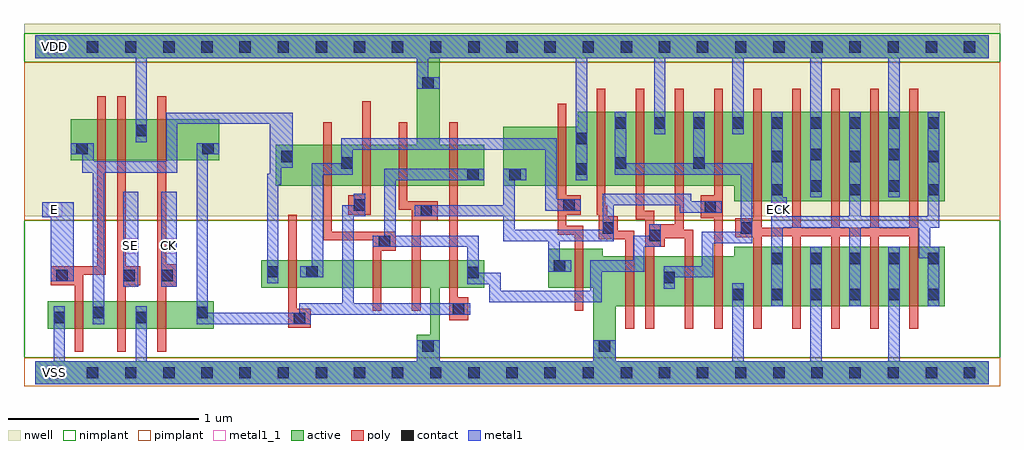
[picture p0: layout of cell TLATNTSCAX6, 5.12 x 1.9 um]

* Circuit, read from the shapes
.subckt TLATNTSCAX6 CK E ECK SE VDD VSS
M1 n1 E VSS VSS nfet w=0.145u l=0.045u
M2 VSS SE n1 VSS nfet w=0.145u l=0.045u
M3 n2 CK VSS VSS nfet w=0.145u l=0.045u
M4 n3 n2 n1 VSS nfet w=0.145u l=0.045u
M5 n4 n5 n3 VSS nfet w=0.145u l=0.045u
M6 VSS n6 n4 VSS nfet w=0.145u l=0.045u
M7 n5 n2 VSS VSS nfet w=0.145u l=0.045u
M8 VSS n3 n6 VSS nfet w=0.205u l=0.045u
M9 n7 n6 VSS VSS nfet w=0.26u l=0.045u
M10 n8 n5 n7 VSS nfet w=0.26u l=0.045u
M11 n9 n5 n8 VSS nfet w=0.26u l=0.045u
M12 VSS n6 n9 VSS nfet w=0.26u l=0.045u
M13 ECK n8 VSS VSS nfet w=0.31u l=0.045u m=5
M14 n10 E n1 VDD pfet w=0.215u l=0.045u
M15 VDD SE n10 VDD pfet w=0.215u l=0.045u
M16 n2 CK VDD VDD pfet w=0.215u l=0.045u
M17 n3 n5 n1 VDD pfet w=0.215u l=0.045u
M18 n11 n2 n3 VDD pfet w=0.215u l=0.045u
M19 VDD n6 n11 VDD pfet w=0.215u l=0.045u
M20 n5 n2 VDD VDD pfet w=0.215u l=0.045u
M21 VDD n3 n6 VDD pfet w=0.31u l=0.045u
M22 n8 n6 VDD VDD pfet w=0.39u l=0.045u m=2
M23 VDD n5 n8 VDD pfet w=0.39u l=0.045u m=2
M24 ECK n8 VDD VDD pfet w=0.47u l=0.045u m=5
.ends

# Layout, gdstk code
import gdstk
lib = gdstk.Library(unit=1e-6, precision=5e-10)
def R(c, l, rs):  # rectangles x0, y0, x1, y1
    for r in rs: c.add(gdstk.rectangle(r[:2], r[2:], *l))
def A(c, l, x, y, w, h, nx, ny, dx, dy):  # array of equal rectangles
    R(c, l, [(x+i*dx, y+j*dy, x+i*dx+w, y+j*dy+h) for i in range(nx) for j in range(ny)])
def P(c, l, *ps):  # polygons
    for p in ps: c.add(gdstk.Polygon(p, *l))
active = (1, 0)
nwell = (2, 0)
poly = (3, 0)
nimplant = (4, 0)
pimplant = (5, 0)
contact = (6, 0)
metal1 = (7, 0)
metal1_1 = (7, 1)

tlatntscax6 = lib.new_cell('TLATNTSCAX6')
R(tlatntscax6, active, [(0.065,0.23,0.935,0.375), (0.185,1.115,0.965,1.33)])
P(tlatntscax6, active, [(0,1.77),(5,1.77),(5,1.65),(2.12,1.65),(2.12,1.195),(2.355,1.195),(2.355,0.98),(1.26,0.98),(1.26,1.195),(2,1.195),(2,1.65),(0,1.65)],
  [(2.845,1.37),(4.77,1.37),(4.77,0.9),(3.665,0.9),(3.665,0.98),(2.455,0.98),(2.455,1.29),(2.845,1.29)],
  [(2.69,0.65),(2.975,0.65),(2.975,0.61),(3.665,0.61),(3.665,0.66),(4.77,0.66),(4.77,0.35),(3.045,0.35),(3.045,0.06),(5,0.06),(5,-0.06),(0,-0.06),(0,0.06),(2,0.06),(2,0.2),(2.07,0.2),(2.07,0.445),(1.185,0.445),(1.185,0.59),(2.355,0.59),(2.355,0.445),(2.12,0.445),(2.12,0.06),(2.925,0.06),(2.925,0.445),(2.69,0.445)])
R(tlatntscax6, nwell, [(-0.06,0.82,5.06,1.83)])
P(tlatntscax6, poly, [(0.325,1.45),(0.37,1.45),(0.37,0.515),(0.25,0.515),(0.25,0.11),(0.205,0.11),(0.205,0.46),(0.08,0.46),(0.08,0.56),(0.325,0.56)],
  [(0.43,1.45),(0.475,1.45),(0.475,0.56),(0.55,0.56),(0.55,0.46),(0.475,0.46),(0.475,0.11),(0.43,0.11)],
  [(0.64,1.45),(0.685,1.45),(0.685,0.57),(0.74,0.57),(0.74,0.45),(0.685,0.45),(0.685,0.11),(0.64,0.11)],
  [(1.51,1.315),(1.555,1.315),(1.555,0.74),(1.89,0.74),(1.89,0.64),(1.815,0.64),(1.815,0.325),(1.77,0.325),(1.77,0.695),(1.51,0.695)],
  [(1.715,1.425),(1.76,1.425),(1.76,0.83),(1.64,0.83),(1.64,0.93),(1.715,0.93)],
  [(1.905,1.315),(1.95,1.315),(1.95,0.9),(2.11,0.9),(2.11,0.8),(2.02,0.8),(2.02,0.325),(1.975,0.325),(1.975,0.855),(1.905,0.855)],
  [(2.17,1.315),(2.215,1.315),(2.215,0.395),(2.27,0.395),(2.27,0.275),(2.17,0.275)],
  [(2.74,1.41),(2.785,1.41),(2.785,0.93),(2.86,0.93),(2.86,0.83),(2.785,0.83),(2.785,0.77),(2.875,0.77),(2.875,0.325),(2.83,0.325),(2.83,0.725),(2.74,0.725)],
  [(2.945,1.49),(2.99,1.49),(2.99,0.875),(3,0.875),(3,0.82),(3.055,0.82),(3.055,0.745),(3.14,0.745),(3.14,0.23),(3.095,0.23),(3.095,0.7),(2.955,0.7),(2.955,0.83),(2.945,0.83)],
  [(3.15,1.49),(3.195,1.49),(3.195,0.85),(3.245,0.85),(3.245,0.78),(3.355,0.78),(3.355,1.49),(3.4,1.49),(3.4,0.75),(3.45,0.75),(3.45,0.23),(3.405,0.23),(3.405,0.705),(3.3,0.705),(3.3,0.66),(3.245,0.66),(3.245,0.23),(3.2,0.23),(3.2,0.805),(3.15,0.805)],
  [(3.56,1.49),(3.605,1.49),(3.605,0.23),(3.56,0.23),(3.56,0.81),(3.49,0.81),(3.49,0.93),(3.56,0.93)],
  [(3.765,1.49),(3.81,1.49),(3.81,0.76),(3.97,0.76),(3.97,1.49),(4.015,1.49),(4.015,0.76),(4.175,0.76),(4.175,1.49),(4.22,1.49),(4.22,0.76),(4.38,0.76),(4.38,1.49),(4.425,1.49),(4.425,0.76),(4.585,0.76),(4.585,1.49),(4.63,1.49),(4.63,0.23),(4.585,0.23),(4.585,0.715),(4.425,0.715),(4.425,0.23),(4.38,0.23),(4.38,0.715),(4.22,0.715),(4.22,0.23),(4.175,0.23),(4.175,0.715),(4.015,0.715),(4.015,0.23),(3.97,0.23),(3.97,0.715),(3.81,0.715),(3.81,0.23),(3.765,0.23),(3.765,0.71),(3.67,0.71),(3.67,0.81),(3.765,0.81)],
  [(1.325,0.83),(1.37,0.83),(1.37,0.335),(1.445,0.335),(1.445,0.235),(1.325,0.235)])
R(tlatntscax6, nimplant, [(-0.06,0.08,5.06,0.8), (-0.06,1.63,5.06,1.78)])
R(tlatntscax6, pimplant, [(-0.06,-0.07,5.06,0.08), (-0.06,0.8,5.06,1.63)])
A(tlatntscax6, contact, 0.07, -0.03, 0.06, 0.06, 25, 2, 0.2, 1.71)
A(tlatntscax6, contact, 3.655, 0.38, 0.06, 0.06, 6, 1, 0.205, 0)
A(tlatntscax6, contact, 3.86, 0.57, 0.06, 0.06, 5, 1, 0.205, 0)
A(tlatntscax6, contact, 3.86, 0.93, 0.06, 0.06, 3, 2, 0.41, 0.175)
A(tlatntscax6, contact, 3.04, 1.28, 0.06, 0.06, 9, 1, 0.205, 0)
R(tlatntscax6, contact, [(2.03,0.11,2.09,0.17), (2.955,0.11,3.015,0.17), (1.355,0.255,1.415,0.315), (0.095,0.26,0.155,0.32), (0.525,0.26,0.585,0.32), (0.3,0.285,0.36,0.345), (0.845,0.285,0.905,0.345), (2.19,0.305,2.25,0.365), (3.295,0.47,3.355,0.53), (0.11,0.48,0.17,0.54), (0.46,0.48,0.52,0.54), (0.66,0.48,0.72,0.54), (2.265,0.495,2.325,0.555), (1.215,0.5,1.275,0.56), (1.42,0.5,1.48,0.56), (2.72,0.53,2.78,0.59), (1.8,0.66,1.86,0.72), (3.22,0.69,3.28,0.75), (2.975,0.73,3.035,0.79), (3.7,0.73,3.76,0.79), (2.02,0.82,2.08,0.88), (3.51,0.84,3.57,0.9), (1.67,0.85,1.73,0.91), (2.77,0.85,2.83,0.91), (4.065,0.95,4.125,1.01), (4.475,0.95,4.535,1.01), (2.265,1.01,2.325,1.07), (2.485,1.01,2.545,1.07), (2.835,1.04,2.895,1.1), (1.605,1.07,1.665,1.13), (3.04,1.07,3.1,1.13), (3.45,1.07,3.51,1.13), (1.29,1.105,1.35,1.165), (4.065,1.115,4.125,1.175), (4.475,1.115,4.535,1.175), (0.215,1.145,0.275,1.205), (0.875,1.145,0.935,1.205), (2.835,1.2,2.895,1.26), (0.525,1.24,0.585,1.3), (2.03,1.49,2.09,1.55)])
R(tlatntscax6, metal1, [(0.46,0.45,0.54,0.95), (0.66,0.45,0.74,0.95)])
P(tlatntscax6, metal1, [(0,1.77),(5,1.77),(5,1.65),(4.535,1.65),(4.535,0.92),(4.475,0.92),(4.475,1.65),(4.125,1.65),(4.125,0.92),(4.065,0.92),(4.065,1.65),(3.715,1.65),(3.715,1.25),(3.655,1.25),(3.655,1.65),(3.305,1.65),(3.305,1.25),(3.245,1.25),(3.245,1.65),(2.895,1.65),(2.895,1.01),(2.835,1.01),(2.835,1.65),(2.06,1.65),(2.06,1.55),(2.12,1.55),(2.12,1.49),(2,1.49),(2,1.65),(0.585,1.65),(0.585,1.21),(0.525,1.21),(0.525,1.65),(0,1.65)],
  [(1.605,1.23),(2.735,1.23),(2.735,0.91),(2.86,0.91),(2.86,0.85),(2.675,0.85),(2.675,1.17),(1.665,1.17),(1.665,1.04),(1.51,1.04),(1.51,0.5),(1.39,0.5),(1.39,0.56),(1.45,0.56),(1.45,1.1),(1.605,1.1)],
  [(0.685,1.365),(1.35,1.365),(1.35,1.075),(1.29,1.075),(1.29,0.985),(1.275,0.985),(1.275,0.47),(1.215,0.47),(1.215,1.045),(1.23,1.045),(1.23,1.305),(0.745,1.305),(0.745,1.05),(0.36,1.05),(0.36,0.255),(0.3,0.255),(0.3,1.05),(0.245,1.05),(0.245,1.145),(0.185,1.145),(0.185,1.205),(0.305,1.205),(0.305,1.11),(0.685,1.11)],
  [(0.845,1.205),(0.965,1.205),(0.965,1.145),(0.905,1.145),(0.905,0.315),(1.385,0.315),(1.385,0.365),(1.61,0.365),(1.61,0.88),(1.67,0.88),(1.67,0.94),(1.73,0.94),(1.73,0.82),(1.67,0.82),(1.67,0.365),(2.28,0.365),(2.28,0.305),(1.445,0.305),(1.445,0.255),(0.845,0.255)],
  [(1.83,1.07),(2.355,1.07),(2.355,1.01),(1.89,1.01),(1.89,0.72),(2.325,0.72),(2.325,0.525),(2.44,0.525),(2.44,0.43),(2.91,0.43),(2.91,0.59),(3.135,0.59),(3.135,0.72),(3.22,0.72),(3.22,0.78),(3.28,0.78),(3.28,0.66),(3.195,0.66),(3.195,0.53),(2.97,0.53),(2.97,0.37),(2.38,0.37),(2.38,0.465),(2.265,0.465),(2.265,0.66),(1.77,0.66),(1.77,0.72),(1.83,0.72)],
  [(0.035,0.895),(0.2,0.895),(0.2,0.48),(0.08,0.48),(0.08,0.815),(0.035,0.815)],
  [(0.095,0.35),(0.155,0.35),(0.155,0.06),(0.525,0.06),(0.525,0.35),(0.585,0.35),(0.585,0.06),(2,0.06),(2,0.17),(2.12,0.17),(2.12,0.06),(2.925,0.06),(2.925,0.17),(3.045,0.17),(3.045,0.06),(3.655,0.06),(3.655,0.47),(3.715,0.47),(3.715,0.06),(4.065,0.06),(4.065,0.66),(4.125,0.66),(4.125,0.06),(4.475,0.06),(4.475,0.66),(4.535,0.66),(4.535,0.06),(5,0.06),(5,-0.06),(0,-0.06),(0,0.06),(0.095,0.06)],
  [(2.455,1.07),(2.575,1.07),(2.575,1.01),(2.515,1.01),(2.515,0.75),(2.975,0.75),(2.975,0.94),(3.44,0.94),(3.44,0.9),(3.6,0.9),(3.6,0.84),(3.38,0.84),(3.38,0.88),(3.035,0.88),(3.035,0.69),(2.75,0.69),(2.75,0.59),(2.81,0.59),(2.81,0.53),(2.69,0.53),(2.69,0.69),(2.455,0.69),(2.455,0.82),(1.99,0.82),(1.99,0.88),(2.455,0.88)],
  [(3.04,1.37),(3.1,1.37),(3.1,1.1),(3.45,1.1),(3.45,1.37),(3.51,1.37),(3.51,1.1),(3.76,1.1),(3.76,0.68),(3.555,0.68),(3.555,0.5),(3.355,0.5),(3.355,0.44),(3.295,0.44),(3.295,0.56),(3.495,0.56),(3.495,0.74),(3.7,0.74),(3.7,1.04),(3.04,1.04)],
  [(3.86,1.37),(3.92,1.37),(3.92,0.92),(3.94,0.92),(3.94,0.82),(4.27,0.82),(4.27,1.37),(4.33,1.37),(4.33,0.82),(4.68,0.82),(4.68,1.37),(4.74,1.37),(4.74,0.76),(4.695,0.76),(4.695,0.66),(4.74,0.66),(4.74,0.35),(4.68,0.35),(4.68,0.6),(4.635,0.6),(4.635,0.76),(4.33,0.76),(4.33,0.35),(4.27,0.35),(4.27,0.76),(3.92,0.76),(3.92,0.35),(3.86,0.35)])
A(tlatntscax6, metal1_1, 0.06, -0.04, 0.08, 0.08, 1, 3, 0, 0.855)
R(tlatntscax6, metal1_1, [(0.46,0.625,0.54,0.705), (0.66,0.625,0.74,0.705), (3.86,0.815,3.94,0.895)])
tlatntscax6.add(gdstk.Label('ECK', (3.9,0.855), layer=7, texttype=1))
tlatntscax6.add(gdstk.Label('CK', (0.7,0.665), layer=7, texttype=1))
tlatntscax6.add(gdstk.Label('SE', (0.5,0.665), layer=7, texttype=1))
tlatntscax6.add(gdstk.Label('E', (0.1,0.855), layer=7, texttype=1))
tlatntscax6.add(gdstk.Label('VDD', (0.1,1.71), layer=7, texttype=1))
tlatntscax6.add(gdstk.Label('VSS', (0.1,0), layer=7, texttype=1))
tlatntscax6.add(gdstk.Label('TLATNTSCAX6', (0,0), layer=63, texttype=0))

lib.write_gds('TLATNTSCAX6.gds')
